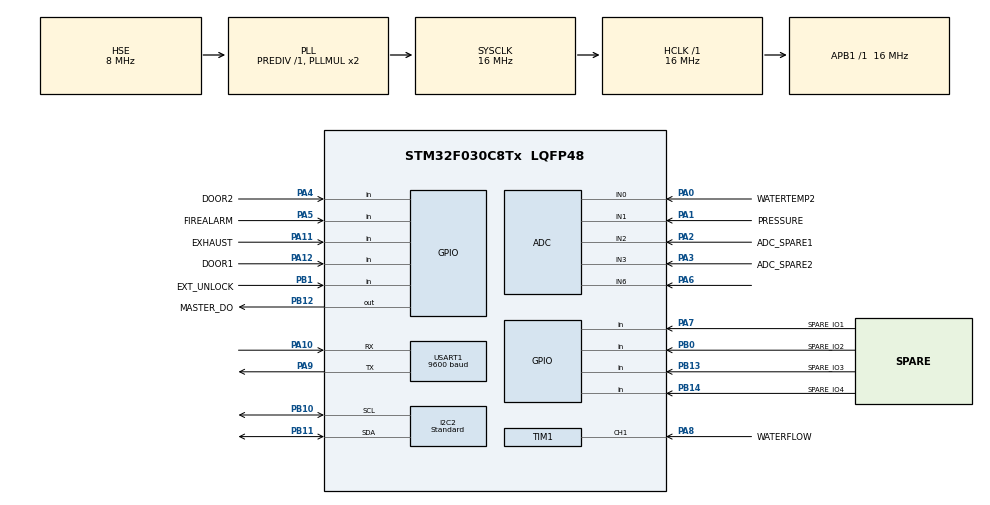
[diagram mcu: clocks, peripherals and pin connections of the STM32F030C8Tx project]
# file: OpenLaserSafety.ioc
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ADC.ClockPrescaler=ADC_CLOCK_SYNC_PCLK_DIV4
ADC.ContinuousConvMode=ENABLE
ADC.DMAContinuousRequests=ENABLE
ADC.EOCSelection=ADC_EOC_SEQ_CONV
ADC.Overrun=ADC_OVR_DATA_OVERWRITTEN
ADC.SamplingTime=ADC_SAMPLETIME_13CYCLES_5
Dma.ADC.0.Direction=DMA_PERIPH_TO_MEMORY
Dma.ADC.0.Instance=DMA1_Channel1
Dma.ADC.0.MemDataAlignment=DMA_MDATAALIGN_HALFWORD
Dma.ADC.0.MemInc=DMA_MINC_ENABLE
Dma.ADC.0.Mode=DMA_CIRCULAR
Dma.ADC.0.PeriphDataAlignment=DMA_PDATAALIGN_HALFWORD
Dma.ADC.0.PeriphInc=DMA_PINC_DISABLE
Dma.ADC.0.Priority=DMA_PRIORITY_LOW
Dma.Request0=ADC
I2C2.Analog_Filter=I2C_ANALOGFILTER_ENABLE
I2C2.I2C_Coeff_DF=0
I2C2.I2C_Fall_Time=300
I2C2.I2C_Rise_Time=1000
I2C2.I2C_Speed_Mode=I2C_Standard
I2C2.Speed=100
I2C2.Timing=0x10911E24
Mcu.Family=STM32F0
Mcu.Name=STM32F030C8Tx
Mcu.Package=LQFP48
NVIC.DMA1_Channel1_IRQn=true\:0\:0\:false\:false\:true\:false\:true\:true
NVIC.TIM1_BRK_UP_TRG_COM_IRQn=true\:0\:0\:false\:false\:true\:true\:true\:true
PA0.GPIO_Label=WATERTEMP2
PA0.Mode=IN0
PA0.Signal=ADC_IN0
PA1.GPIO_Label=PRESSURE
PA1.Mode=IN1
PA1.Signal=ADC_IN1
PA10.Mode=Asynchronous
PA10.Signal=USART1_RX
PA11.GPIO_Label=EXHAUST
PA11.Signal=GPIO_Input
PA12.GPIO_Label=DOOR1
PA12.Signal=GPIO_Input
PA13.Mode=Serial_Wire
PA13.Signal=SYS_SWDIO
PA14.Mode=Serial_Wire
PA14.Signal=SYS_SWCLK
PA2.GPIO_Label=ADC_SPARE1
PA2.Mode=IN2
PA2.Signal=ADC_IN2
PA3.GPIO_Label=ADC_SPARE2
PA3.Mode=IN3
PA3.Signal=ADC_IN3
PA4.GPIO_Label=DOOR2
PA4.Signal=GPIO_Input
PA5.GPIO_Label=FIREALARM
PA5.Signal=GPIO_Input
PA6.Mode=IN6
PA6.Signal=ADC_IN6
PA7.GPIO_Label=SPARE_IO1
PA7.Signal=GPIO_Input
PA8.GPIO_Label=WATERFLOW
PA8.Signal=S_TIM1_CH1
PA9.Mode=Asynchronous
PA9.Signal=USART1_TX
PB0.GPIO_Label=SPARE_IO2
PB0.Signal=GPIO_Input
PB1.GPIO_Label=EXT_UNLOCK
PB1.Signal=GPIO_Input
PB10.Mode=I2C
PB10.Signal=I2C2_SCL
PB11.Mode=I2C
PB11.Signal=I2C2_SDA
PB12.GPIO_Label=MASTER_DO
PB12.GPIO_PuPd=GPIO_PULLUP
PB12.Signal=GPIO_Output
PB13.GPIO_Label=SPARE_IO3
PB13.Signal=GPIO_Input
PB14.GPIO_Label=SPARE_IO4
PB14.Signal=GPIO_Input
PC14-OSC32_IN.Mode=LSE-External-Oscillator
PC14-OSC32_IN.Signal=RCC_OSC32_IN
PC15-OSC32_OUT.Mode=LSE-External-Oscillator
PC15-OSC32_OUT.Signal=RCC_OSC32_OUT
PF0-OSC_IN.Mode=HSE-External-Oscillator
PF0-OSC_IN.Signal=RCC_OSC_IN
PF1-OSC_OUT.Mode=HSE-External-Oscillator
PF1-OSC_OUT.Signal=RCC_OSC_OUT
ProjectManager.HeapSize=0x200
ProjectManager.StackSize=0x400
ProjectManager.TargetToolchain=STM32CubeIDE
RCC.AHBFreq_Value=16000000
RCC.APB1Freq_Value=16000000
RCC.APB1TimFreq_Value=16000000
RCC.HCLKFreq_Value=16000000
RCC.PLLSourceVirtual=RCC_PLLSOURCE_HSE
RCC.SYSCLKFreq_VALUE=16000000
RCC.SYSCLKSource=RCC_SYSCLKSOURCE_PLLCLK
RCC.Usart1ClockSelection=RCC_USART1CLKSOURCE_HSI
SH.S_TIM1_CH1.0=TIM1_CH1,TriggerSource_TI1FP1
TIM1.AutoReloadPreload=TIM_AUTORELOAD_PRELOAD_DISABLE
TIM1.ClockDivision=TIM_CLOCKDIVISION_DIV2
TIM1.Period=65535
TIM1.TIM_MasterSlaveMode=TIM_MASTERSLAVEMODE_DISABLE
USART1.BaudRate=9600
USART1.VirtualMode-Asynchronous=VM_ASYNC
VP_TIM1_VS_ControllerModeClock.Mode=Clock Mode
board=custom

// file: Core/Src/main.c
/* USER CODE BEGIN Header */
/**
  ******************************************************************************
  * @file           : main.c
  * @brief          : Main program body
  ******************************************************************************
  * @attention
  *
  * Copyright (c) 2022 STMicroelectronics.
  * All rights reserved.
  *
  * This software is licensed under terms that can be found in the LICENSE file
  * in the root directory of this software component.
  * If no LICENSE file comes with this software, it is provided AS-IS.
  *
  ******************************************************************************
  */
/* USER CODE END Header */
#include "main.h"

/* USER CODE BEGIN Includes */
#include "stdio.h"
#include "watertemp.h"
#include "check.h"
#include "string.h"
#include "stdbool.h"
#include "config.h"
#include "tlc59116.h"
#include "adc.h"
#include "string.h"
/* USER CODE END Includes */

/* USER CODE BEGIN PM */
uint16_t ADC_DMA_BUFF[NUMBER_ADC_CHANNEL * NUMBER_ADC_CHANNEL_AVERAGE_PER_CHANNEL]={0};

uint16_t ADC_DMA_AVERAGE(int channel)
{
	uint32_t adc_sum;
	int i;

	adc_sum = 0;
	if(channel < NUMBER_ADC_CHANNEL )
	{
		for(i=0; i<NUMBER_ADC_CHANNEL_AVERAGE_PER_CHANNEL; i++)
			adc_sum += ADC_DMA_BUFF[channel+i*NUMBER_ADC_CHANNEL];
	}
	else
		return 1;

	return adc_sum/NUMBER_ADC_CHANNEL_AVERAGE_PER_CHANNEL;
}

/* USER CODE END PM */

ADC_HandleTypeDef hadc;
DMA_HandleTypeDef hdma_adc;

I2C_HandleTypeDef hi2c2;

TIM_HandleTypeDef htim1;

UART_HandleTypeDef huart1;

/* USER CODE BEGIN PV */
//uint16_t adcBuf[NUMBER_ADC_CHANNEL * NUMBER_ADC_CHANNEL_AVERAGE_PER_CHANNEL] = {0};
uint32_t adcBuf[3];
uint32_t conversionResult[NUMBER_ADC_CHANNEL];
uint32_t pulseCounter = 0;

AnalogData temp1Data;
AnalogData temp2Data;
AnalogData pressureData;
Check check;

/* USER CODE END PV */

void SystemClock_Config(void);
static void MX_GPIO_Init(void);
static void MX_DMA_Init(void);
static void MX_I2C2_Init(void);
static void MX_USART1_UART_Init(void);
static void MX_TIM1_Init(void);
static void MX_ADC_Init(void);

int main(void)
{
  /* USER CODE BEGIN 1 */
  char msgbuf[512];

  temp1Data.lowerBound = TEMPIN_LOWER;
  temp1Data.upperBound = TEMPIN_UPPER;
  temp1Data.numAboveLimit = 10;
  temp1Data.numBelowLimit = 10;
  temp2Data.lowerBound = TEMPOUT_LOWER;
  temp2Data.upperBound = TEMPOUT_UPPER;
  temp2Data.numAboveLimit = 10;
  temp2Data.numBelowLimit = 10;
  pressureData.lowerBound = PRESSURE_LOWER;
  pressureData.upperBound = PRESSURE_UPPER;
  pressureData.numAboveLimit = 5;
  pressureData.numBelowLimit = 5;

  /* USER CODE END 1 */

  /* MCU Configuration--------------------------------------------------------*/

  /* Reset of all peripherals, Initializes the Flash interface and the Systick. */
  HAL_Init();

  /* Configure the system clock */
  SystemClock_Config();

  /* Initialize all configured peripherals */
  MX_GPIO_Init();
  MX_DMA_Init();
  MX_I2C2_Init();
  MX_USART1_UART_Init();
  MX_TIM1_Init();
  MX_ADC_Init();
  /* USER CODE BEGIN 2 */
  // Wait for ESP to wake up
  HAL_Delay(8000);

  sprintf(msgbuf, "L|Starting device\r\n");
  HAL_UART_Transmit(&huart1, (uint8_t*)msgbuf, strlen(msgbuf), 50);

  sprintf(msgbuf, "\r\n");
  HAL_UART_Transmit(&huart1, (uint8_t*)msgbuf, strlen(msgbuf), 50);

  if (HAL_ADC_Start_DMA(&hadc, (uint32_t *)ADC_DMA_BUFF, NUMBER_ADC_CHANNEL * NUMBER_ADC_CHANNEL_AVERAGE_PER_CHANNEL) != HAL_OK) {
    sprintf(msgbuf, "L|Failed to start ADC DMA.\r\n");
    adc_panic();
  } else {
	  sprintf(msgbuf, "L|Started ADC DMA.\r\n");
	  HAL_UART_Transmit(&huart1, (uint8_t*)msgbuf, strlen(msgbuf), 50);
  }

  if (HAL_TIM_Base_Start_IT(&htim1) != HAL_OK) {
    sprintf(msgbuf, "L|Failed to start timer.\r\n");
    tim_panic();
  } else {
    sprintf(msgbuf, "L|Started timer.\r\n");
    HAL_UART_Transmit(&huart1, (uint8_t*)msgbuf, strlen(msgbuf), 50);
  }
  MX_I2C2_Init();

  tlc59116_init();
  tlc59116_setAllLEDs(255);

  HAL_Delay(5000);
  /* USER CODE END 2 */

  /* Infinite loop */
  /* USER CODE BEGIN WHILE */
  while (1)
  {
	  HAL_ADC_Start(&hadc);

    check.results.temp1 = checkAnalogData(&temp1Data, inputToCelcius(ADC_DMA_AVERAGE(ADC_CHANNELTEMPIN)), TEMPINRECOVER_OFFSET);
    check.values.temp1 = inputToCelcius(ADC_DMA_AVERAGE(ADC_CHANNELTEMPIN));

    if (ENABLE_TEMPOUT) {
      check.results.temp2 = checkAnalogData(&temp1Data, inputToCelcius(ADC_DMA_AVERAGE(ADC_CHANNELTEMPOUT)), TEMPOUTRECOVER_OFFSET);
      check.values.temp2 = inputToCelcius(ADC_DMA_AVERAGE(ADC_CHANNELTEMPOUT));
    }

    checkFlowCount(&htim1, &pulseCounter, &check);

    check.results.pressure = checkAnalogData(&pressureData, ADC_DMA_AVERAGE(ADC_CHANNEL_PRESSURE), PRESSURE_RECOVER_OFFSET);
    check.values.pressure = ADC_DMA_AVERAGE(ADC_CHANNEL_PRESSURE);

    check.results.door1 = checkIOPin(DOOR1_GPIO_TYPE, DOOR1_GPIO_PIN, DOOR1_GPIO_DESIRED);
    check.values.door1 = checkIOPin(DOOR1_GPIO_TYPE, DOOR1_GPIO_PIN, DOOR1_GPIO_DESIRED);
    check.results.door2 = checkIOPin(DOOR2_GPIO_TYPE, DOOR2_GPIO_PIN, DOOR2_GPIO_DESIRED);
    check.values.door2 = checkIOPin(DOOR2_GPIO_TYPE, DOOR2_GPIO_PIN, DOOR2_GPIO_DESIRED);

    check.results.extunlock = checkIOPin(EXTUNLOCK_GPIO_TYPE, EXTUNLOCK_GPIO_PIN, EXTUNLOCK_GPIO_DESIRED);
    check.values.extunlock = checkIOPin(EXTUNLOCK_GPIO_TYPE, EXTUNLOCK_GPIO_PIN, EXTUNLOCK_GPIO_DESIRED);

    check.results.fire = checkIOPin(FIREALARM_GPIO_TYPE, FIREALARM_GPIO_PIN, FIREALARM_GPIO_DESIRED);
    check.values.fire = checkIOPin(FIREALARM_GPIO_TYPE, FIREALARM_GPIO_PIN, FIREALARM_GPIO_DESIRED);

    check.results.exhaust_digital = checkIOPin(EXHAUST_DIGITAL_GPIO_TYPE, EXHAUST_DIGITAL_GPIO_PIN, EXHAUST_DIGITAL_GPIO_DESIRED);
    check.values.exhaust_digital = checkIOPin(EXHAUST_DIGITAL_GPIO_TYPE, EXHAUST_DIGITAL_GPIO_PIN, EXHAUST_DIGITAL_GPIO_DESIRED);

    check.results.all = overallStatus(&check.results);

    tlc59116_setLEDs(check.results);

    serialPrintResult(&check.values);

    HAL_Delay(500);

    /* USER CODE END WHILE */

  }
}

void SystemClock_Config(void)
{
  RCC_OscInitTypeDef RCC_OscInitStruct = {0};
  RCC_ClkInitTypeDef RCC_ClkInitStruct = {0};
  RCC_PeriphCLKInitTypeDef PeriphClkInit = {0};

  /** Initializes the RCC Oscillators according to the specified parameters
  * in the RCC_OscInitTypeDef structure.
  */
  RCC_OscInitStruct.OscillatorType = RCC_OSCILLATORTYPE_HSI|RCC_OSCILLATORTYPE_HSE;
  RCC_OscInitStruct.HSEState = RCC_HSE_ON;
  RCC_OscInitStruct.HSIState = RCC_HSI_ON;
  RCC_OscInitStruct.HSICalibrationValue = RCC_HSICALIBRATION_DEFAULT;
  RCC_OscInitStruct.PLL.PLLState = RCC_PLL_ON;
  RCC_OscInitStruct.PLL.PLLSource = RCC_PLLSOURCE_HSE;
  RCC_OscInitStruct.PLL.PLLMUL = RCC_PLL_MUL2;
  RCC_OscInitStruct.PLL.PREDIV = RCC_PREDIV_DIV1;
  if (HAL_RCC_OscConfig(&RCC_OscInitStruct) != HAL_OK)
  {
    Error_Handler();
  }

  /** Initializes the CPU, AHB and APB buses clocks
  */
  RCC_ClkInitStruct.ClockType = RCC_CLOCKTYPE_HCLK|RCC_CLOCKTYPE_SYSCLK
                              |RCC_CLOCKTYPE_PCLK1;
  RCC_ClkInitStruct.SYSCLKSource = RCC_SYSCLKSOURCE_PLLCLK;
  RCC_ClkInitStruct.AHBCLKDivider = RCC_SYSCLK_DIV1;
  RCC_ClkInitStruct.APB1CLKDivider = RCC_HCLK_DIV1;

  if (HAL_RCC_ClockConfig(&RCC_ClkInitStruct, FLASH_LATENCY_0) != HAL_OK)
  {
    Error_Handler();
  }
  PeriphClkInit.PeriphClockSelection = RCC_PERIPHCLK_USART1;
  PeriphClkInit.Usart1ClockSelection = RCC_USART1CLKSOURCE_HSI;
  if (HAL_RCCEx_PeriphCLKConfig(&PeriphClkInit) != HAL_OK)
  {
    Error_Handler();
  }
}

static void MX_ADC_Init(void)
{

  ADC_ChannelConfTypeDef sConfig = {0};

  /** Configure the global features of the ADC (Clock, Resolution, Data Alignment and number of conversion)
  */
  hadc.Instance = ADC1;
  hadc.Init.ClockPrescaler = ADC_CLOCK_SYNC_PCLK_DIV4;
  hadc.Init.Resolution = ADC_RESOLUTION_12B;
  hadc.Init.DataAlign = ADC_DATAALIGN_RIGHT;
  hadc.Init.ScanConvMode = ADC_SCAN_DIRECTION_FORWARD;
  hadc.Init.EOCSelection = ADC_EOC_SEQ_CONV;
  hadc.Init.LowPowerAutoWait = DISABLE;
  hadc.Init.LowPowerAutoPowerOff = DISABLE;
  hadc.Init.ContinuousConvMode = ENABLE;
  hadc.Init.DiscontinuousConvMode = DISABLE;
  hadc.Init.ExternalTrigConv = ADC_SOFTWARE_START;
  hadc.Init.ExternalTrigConvEdge = ADC_EXTERNALTRIGCONVEDGE_NONE;
  hadc.Init.DMAContinuousRequests = ENABLE;
  hadc.Init.Overrun = ADC_OVR_DATA_OVERWRITTEN;
  if (HAL_ADC_Init(&hadc) != HAL_OK)
  {
    Error_Handler();
  }

  /** Configure for the selected ADC regular channel to be converted.
  */
  sConfig.Channel = ADC_CHANNEL_0;
  sConfig.Rank = ADC_RANK_CHANNEL_NUMBER;
  sConfig.SamplingTime = ADC_SAMPLETIME_13CYCLES_5;
  if (HAL_ADC_ConfigChannel(&hadc, &sConfig) != HAL_OK)
  {
    Error_Handler();
  }

  /** Configure for the selected ADC regular channel to be converted.
  */
  sConfig.Channel = ADC_CHANNEL_1;
  if (HAL_ADC_ConfigChannel(&hadc, &sConfig) != HAL_OK)
  {
    Error_Handler();
  }

  /** Configure for the selected ADC regular channel to be converted.
  */
  sConfig.Channel = ADC_CHANNEL_2;
  if (HAL_ADC_ConfigChannel(&hadc, &sConfig) != HAL_OK)
  {
    Error_Handler();
  }

  /** Configure for the selected ADC regular channel to be converted.
  */
  sConfig.Channel = ADC_CHANNEL_3;
  if (HAL_ADC_ConfigChannel(&hadc, &sConfig) != HAL_OK)
  {
    Error_Handler();
  }

  /** Configure for the selected ADC regular channel to be converted.
  */
  sConfig.Channel = ADC_CHANNEL_6;
  if (HAL_ADC_ConfigChannel(&hadc, &sConfig) != HAL_OK)
  {
    Error_Handler();
  }

}

static void MX_I2C2_Init(void)
{

  hi2c2.Instance = I2C2;
  hi2c2.Init.Timing = 0x10911E24;
  hi2c2.Init.OwnAddress1 = 0;
  hi2c2.Init.AddressingMode = I2C_ADDRESSINGMODE_7BIT;
  hi2c2.Init.DualAddressMode = I2C_DUALADDRESS_DISABLE;
  hi2c2.Init.OwnAddress2 = 0;
  hi2c2.Init.OwnAddress2Masks = I2C_OA2_NOMASK;
  hi2c2.Init.GeneralCallMode = I2C_GENERALCALL_DISABLE;
  hi2c2.Init.NoStretchMode = I2C_NOSTRETCH_DISABLE;
  if (HAL_I2C_Init(&hi2c2) != HAL_OK)
  {
    Error_Handler();
  }

  /** Configure Analogue filter
  */
  if (HAL_I2CEx_ConfigAnalogFilter(&hi2c2, I2C_ANALOGFILTER_ENABLE) != HAL_OK)
  {
    Error_Handler();
  }

  /** Configure Digital filter
  */
  if (HAL_I2CEx_ConfigDigitalFilter(&hi2c2, 0) != HAL_OK)
  {
    Error_Handler();
  }

}

static void MX_TIM1_Init(void)
{

  TIM_SlaveConfigTypeDef sSlaveConfig = {0};
  TIM_MasterConfigTypeDef sMasterConfig = {0};

  htim1.Instance = TIM1;
  htim1.Init.Prescaler = 0;
  htim1.Init.CounterMode = TIM_COUNTERMODE_UP;
  htim1.Init.Period = 65535;
  htim1.Init.ClockDivision = TIM_CLOCKDIVISION_DIV2;
  htim1.Init.RepetitionCounter = 0;
  htim1.Init.AutoReloadPreload = TIM_AUTORELOAD_PRELOAD_DISABLE;
  if (HAL_TIM_Base_Init(&htim1) != HAL_OK)
  {
    Error_Handler();
  }
  sSlaveConfig.SlaveMode = TIM_SLAVEMODE_EXTERNAL1;
  sSlaveConfig.InputTrigger = TIM_TS_TI1FP1;
  sSlaveConfig.TriggerPolarity = TIM_TRIGGERPOLARITY_RISING;
  sSlaveConfig.TriggerFilter = 0;
  if (HAL_TIM_SlaveConfigSynchro(&htim1, &sSlaveConfig) != HAL_OK)
  {
    Error_Handler();
  }
  sMasterConfig.MasterOutputTrigger = TIM_TRGO_RESET;
  sMasterConfig.MasterSlaveMode = TIM_MASTERSLAVEMODE_DISABLE;
  if (HAL_TIMEx_MasterConfigSynchronization(&htim1, &sMasterConfig) != HAL_OK)
  {
    Error_Handler();
  }

}

static void MX_USART1_UART_Init(void)
{

  huart1.Instance = USART1;
  huart1.Init.BaudRate = 9600;
  huart1.Init.WordLength = UART_WORDLENGTH_8B;
  huart1.Init.StopBits = UART_STOPBITS_1;
  huart1.Init.Parity = UART_PARITY_NONE;
  huart1.Init.Mode = UART_MODE_TX_RX;
  huart1.Init.HwFlowCtl = UART_HWCONTROL_NONE;
  huart1.Init.OverSampling = UART_OVERSAMPLING_16;
  huart1.Init.OneBitSampling = UART_ONE_BIT_SAMPLE_DISABLE;
  huart1.AdvancedInit.AdvFeatureInit = UART_ADVFEATURE_NO_INIT;
  if (HAL_UART_Init(&huart1) != HAL_OK)
  {
    Error_Handler();
  }

}

static void MX_DMA_Init(void)
{

  /* DMA controller clock enable */
  __HAL_RCC_DMA1_CLK_ENABLE();

  /* DMA interrupt init */
  /* DMA1_Channel1_IRQn interrupt configuration */
  HAL_NVIC_SetPriority(DMA1_Channel1_IRQn, 0, 0);
  HAL_NVIC_EnableIRQ(DMA1_Channel1_IRQn);

}

static void MX_GPIO_Init(void)
{
  GPIO_InitTypeDef GPIO_InitStruct = {0};

  /* GPIO Ports Clock Enable */
  __HAL_RCC_GPIOC_CLK_ENABLE();
  __HAL_RCC_GPIOF_CLK_ENABLE();
  __HAL_RCC_GPIOA_CLK_ENABLE();
  __HAL_RCC_GPIOB_CLK_ENABLE();

  /*Configure GPIO pin Output Level */
  HAL_GPIO_WritePin(MASTER_DO_GPIO_Port, MASTER_DO_Pin, GPIO_PIN_RESET);

  /*Configure GPIO pins : DOOR2_Pin FIREALARM_Pin SPARE_IO1_Pin EXHAUST_Pin
                           DOOR1_Pin */
  GPIO_InitStruct.Pin = DOOR2_Pin|FIREALARM_Pin|SPARE_IO1_Pin|EXHAUST_Pin
                          |DOOR1_Pin;
  GPIO_InitStruct.Mode = GPIO_MODE_INPUT;
  GPIO_InitStruct.Pull = GPIO_NOPULL;
  HAL_GPIO_Init(GPIOA, &GPIO_InitStruct);

  /*Configure GPIO pins : SPARE_IO2_Pin EXT_UNLOCK_Pin SPARE_IO3_Pin SPARE_IO4_Pin */
  GPIO_InitStruct.Pin = SPARE_IO2_Pin|EXT_UNLOCK_Pin|SPARE_IO3_Pin|SPARE_IO4_Pin;
  GPIO_InitStruct.Mode = GPIO_MODE_INPUT;
  GPIO_InitStruct.Pull = GPIO_NOPULL;
  HAL_GPIO_Init(GPIOB, &GPIO_InitStruct);

  /*Configure GPIO pin : MASTER_DO_Pin */
  GPIO_InitStruct.Pin = MASTER_DO_Pin;
  GPIO_InitStruct.Mode = GPIO_MODE_OUTPUT_PP;
  GPIO_InitStruct.Pull = GPIO_PULLUP;
  GPIO_InitStruct.Speed = GPIO_SPEED_FREQ_LOW;
  HAL_GPIO_Init(MASTER_DO_GPIO_Port, &GPIO_InitStruct);

}

/* USER CODE BEGIN 4 */

/*
uint16_t adc_dma_average(int channel)
{
	uint32_t adc_sum;
	int i;

	adc_sum = 0;
	if(channel < NUMBER_ADC_CHANNEL )
	{
		for(i=0; i<NUMBER_ADC_CHANNEL_AVERAGE_PER_CHANNEL; i++)
			adc_sum += adcBuf[channel+i*NUMBER_ADC_CHANNEL];
	}
	else
		return 1;

	return adc_sum/NUMBER_ADC_CHANNEL_AVERAGE_PER_CHANNEL;
}
*/
/* USER CODE END 4 */

void Error_Handler(void)
{
  __disable_irq();
  while (1)
  {
  }
}
